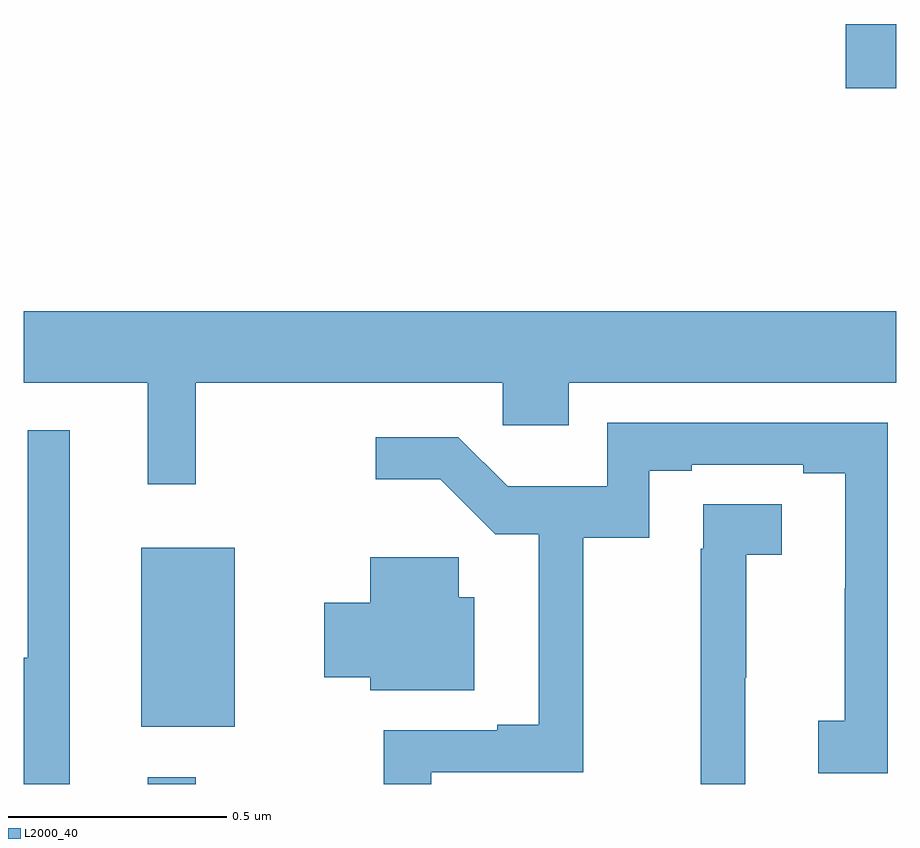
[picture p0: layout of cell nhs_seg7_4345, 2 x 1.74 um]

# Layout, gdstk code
import gdstk
lib = gdstk.Library(unit=1e-6, precision=1e-09)
def R(c, l, rs):  # rectangles x0, y0, x1, y1
    for r in rs: c.add(gdstk.rectangle(r[:2], r[2:], *l))
def P(c, l, *ps):  # polygons
    for p in ps: c.add(gdstk.Polygon(p, *l))
L2000_40 = (2000, 40)

nhs_seg7_4345 = lib.new_cell('nhs_seg7_4345')
R(nhs_seg7_4345, L2000_40, [(171.284,1029,171.394,1029.016), (171.269,1029.131,171.484,1029.541), (172.884,1030.595,173,1030.742)])
P(nhs_seg7_4345, L2000_40, [(171.394,1029.92),(172.098,1029.92),(172.098,1029.822),(172.249,1029.822),(172.249,1029.92),(173,1029.92),(173,1030.084),(171,1030.084),(171,1029.92),(171.284,1029.92),(171.284,1029.687),(171.394,1029.687)],
  [(171.934,1029.027),(172.283,1029.027),(172.283,1029.565),(172.434,1029.565),(172.434,1029.718),(172.531,1029.718),(172.531,1029.732),(172.787,1029.732),(172.787,1029.712),(172.883,1029.712),(172.883,1029.449),(172.882,1029.449),(172.882,1029.145),(172.821,1029.145),(172.821,1029.025),(172.98,1029.025),(172.98,1029.828),(172.338,1029.828),(172.338,1029.682),(172.109,1029.682),(171.996,1029.795),(171.807,1029.795),(171.807,1029.698),(171.955,1029.698),(172.081,1029.573),(172.181,1029.573),(172.181,1029.136),(172.085,1029.136),(172.085,1029.123),(171.825,1029.123),(171.825,1029),(171.934,1029)],
  [(171.106,1029.811),(171.009,1029.811),(171.009,1029.289),(171,1029.289),(171,1029),(171.106,1029)],
  [(172.654,1029.243),(172.656,1029.243),(172.656,1029.526),(172.738,1029.526),(172.738,1029.641),(172.558,1029.641),(172.558,1029.539),(172.552,1029.539),(172.552,1029),(172.654,1029)],
  [(172.033,1029.428),(171.997,1029.428),(171.997,1029.52),(171.794,1029.52),(171.794,1029.415),(171.689,1029.415),(171.689,1029.245),(171.794,1029.245),(171.794,1029.215),(172.033,1029.215)])

lib.write_gds('nhs_seg7_4345.gds')
